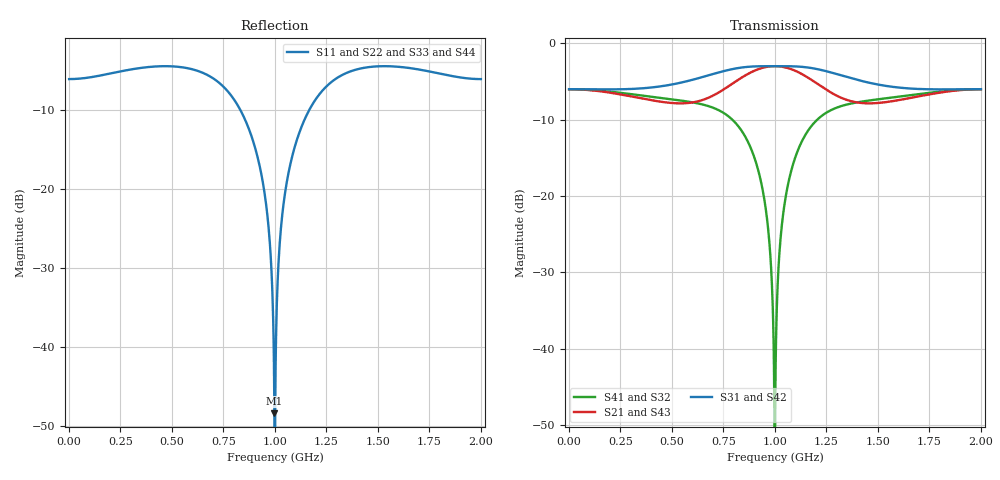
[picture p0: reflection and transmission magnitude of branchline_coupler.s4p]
!Created with skrf (http://scikit-rf.org).
# Hz S RI R 50.0
!freq ReS11 ImS11 ReS12 ImS12 ReS13 ImS13
! ReS14 ImS14
! ReS21 ImS21 ReS22 ImS22 ReS23 ImS23
! ReS24 ImS24
! ReS31 ImS31 ReS32 ImS32 ReS33 ImS33
! ReS34 ImS34
! ReS41 ImS41 ReS42 ImS42 ReS43 ImS43
! ReS44 ImS44
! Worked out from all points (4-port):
!   1000 points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, 2 MHz to 2 GHz, reference 50 ohm
!   strongest paths, dB at 2 MHz, 502 MHz, 1.002 GHz, 1.502 GHz, 2 GHz:
!     S31: -6.0, -5.4, -3.0, -5.4, -6.0
!     S42: -6.0, -5.4, -3.0, -5.4, -6.0
!     S21: -6.0, -7.8, -3.0, -7.8, -6.0
!     S43: -6.0, -7.8, -3.0, -7.8, -6.0
!     S41: -6.0, -7.4, -48.4, -7.3, -6.0
!     S32: -6.0, -7.4, -48.4, -7.3, -6.0
!   lowest |S11| = -48.4 dB at 998 MHz (marker M1), VSWR 1.01, Z = 50 + j0.379 ohm
!   |S11| at or under -10 dB: 834.1 MHz to 1.166 GHz (331.8 MHz wide, 33.2 % of centre)
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2000000  -0.5 -0.00023  0.5 -0.00199  0.5 -0.00291  0.5 -0.00245
         0.5 -0.00199  -0.5 -0.00023  0.5 -0.00245  0.5 -0.00291
         0.5 -0.00291  0.5 -0.00245  -0.5 -0.00023  0.5 -0.00199
         0.5 -0.00245  0.5 -0.00291  0.5 -0.00199  -0.5 -0.00023
8e8  -0.1891 0.3235  0.3259 -0.4427  -0.4825 -0.4778  -0.1637 -0.2635
     0.3259 -0.4427  -0.1891 0.3235  -0.1637 -0.2635  -0.4825 -0.4778
     -0.4825 -0.4778  -0.1637 -0.2635  -0.1891 0.3235  0.3259 -0.4427
     -0.1637 -0.2635  -0.4825 -0.4778  0.3259 -0.4427  -0.1891 0.3235
9.5e8  -0.0108 0.0946  0.1296 -0.6824  -0.6941 -0.1339  -0.0903 -0.0247
       0.1296 -0.6824  -0.0108 0.0946  -0.0903 -0.0247  -0.6941 -0.1339
       -0.6941 -0.1339  -0.0903 -0.0247  -0.0108 0.0946  0.1296 -0.6824
       -0.0903 -0.0247  -0.6941 -0.1339  0.1296 -0.6824  -0.0108 0.0946
9.98e8  -1.68e-05 0.00379  0.00536 -0.7071  -0.7071 -0.00536  -0.00379 -4.07e-05
        0.00536 -0.7071  -1.68e-05 0.00379  -0.00379 -4.07e-05  -0.7071 -0.00536
        -0.7071 -0.00536  -0.00379 -4.07e-05  -1.68e-05 0.00379  0.00536 -0.7071
        -0.00379 -4.07e-05  -0.7071 -0.00536  0.00536 -0.7071  -1.68e-05 0.00379
1.052e9  -0.0117 -0.0984  -0.1344 -0.6804  -0.6931 0.1392  0.0935 -0.0267
         -0.1344 -0.6804  -0.0117 -0.0984  0.0935 -0.0267  -0.6931 0.1392
         -0.6931 0.1392  0.0935 -0.0267  -0.0117 -0.0984  -0.1344 -0.6804
         0.0935 -0.0267  -0.6931 0.1392  -0.1344 -0.6804  -0.0117 -0.0984
1.202e9  -0.1927 -0.3252  -0.3263 -0.4396  -0.4782 0.481  0.1623 -0.2666
         -0.3263 -0.4396  -0.1927 -0.3252  0.1623 -0.2666  -0.4782 0.481
         -0.4782 0.481  0.1623 -0.2666  -0.1927 -0.3252  -0.3263 -0.4396
         0.1623 -0.2666  -0.4782 0.481  -0.3263 -0.4396  -0.1927 -0.3252
2e9  -0.5 -1.39e-17  -0.5 2.06e-16  0.5 -2.95e-16  -0.5 2.5e-16
     -0.5 1.94e-16  -0.5 -2.43e-17  -0.5 2.5e-16  0.5 -2.99e-16
     0.5 -3.05e-16  -0.5 2.48e-16  -0.5 -1.73e-17  -0.5 2.03e-16
     -0.5 2.78e-16  0.5 -2.97e-16  -0.5 2.01e-16  -0.5 -2.39e-17
